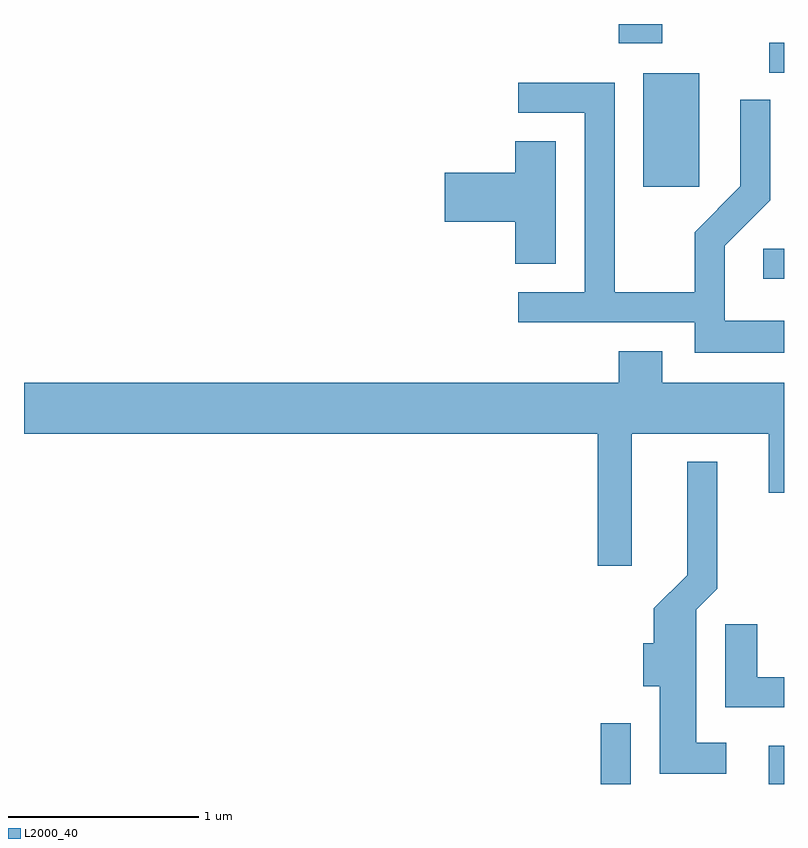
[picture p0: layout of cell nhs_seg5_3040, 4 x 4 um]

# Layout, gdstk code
import gdstk
lib = gdstk.Library(unit=1e-6, precision=1e-09)
def R(c, l, rs):  # rectangles x0, y0, x1, y1
    for r in rs: c.add(gdstk.rectangle(r[:2], r[2:], *l))
def P(c, l, *ps):  # polygons
    for p in ps: c.add(gdstk.Polygon(p, *l))
L2000_40 = (2000, 40)

nhs_seg5_3040 = lib.new_cell('nhs_seg5_3040')
R(nhs_seg5_3040, L2000_40, [(278.646,1446.072,278.804,1446.393), (279.531,1446.072,279.611,1446.274), (279.503,1448.731,279.611,1448.889), (278.871,1449.216,279.164,1449.814), (279.533,1449.816,279.611,1449.974), (278.741,1449.971,278.969,1450.072)])
P(nhs_seg5_3040, L2000_40, [(279.611,1448.509),(279.299,1448.509),(279.299,1448.904),(279.539,1449.144),(279.539,1449.673),(279.381,1449.673),(279.381,1449.217),(279.141,1448.977),(279.141,1448.659),(278.719,1448.659),(278.719,1449.764),(278.213,1449.764),(278.213,1449.606),(278.561,1449.606),(278.561,1448.659),(278.213,1448.659),(278.213,1448.501),(279.141,1448.501),(279.141,1448.341),(279.611,1448.341)],
  [(278.409,1449.454),(278.196,1449.454),(278.196,1449.289),(277.826,1449.289),(277.826,1449.031),(278.196,1449.031),(278.196,1448.811),(278.409,1448.811)],
  [(278.809,1447.916),(279.531,1447.916),(279.531,1447.606),(279.611,1447.606),(279.611,1448.184),(278.969,1448.184),(278.969,1448.349),(278.741,1448.349),(278.741,1448.184),(275.611,1448.184),(275.611,1447.916),(278.631,1447.916),(278.631,1447.221),(278.809,1447.221)],
  [(279.308,1446.289),(279.149,1446.289),(279.149,1446.989),(279.259,1447.099),(279.259,1447.768),(279.101,1447.768),(279.101,1447.172),(278.926,1446.997),(278.926,1446.814),(278.871,1446.814),(278.871,1446.586),(278.956,1446.586),(278.956,1446.126),(279.308,1446.126)],
  [(279.611,1446.634),(279.469,1446.634),(279.469,1446.913),(279.301,1446.913),(279.301,1446.476),(279.611,1446.476)])

lib.write_gds('nhs_seg5_3040.gds')
